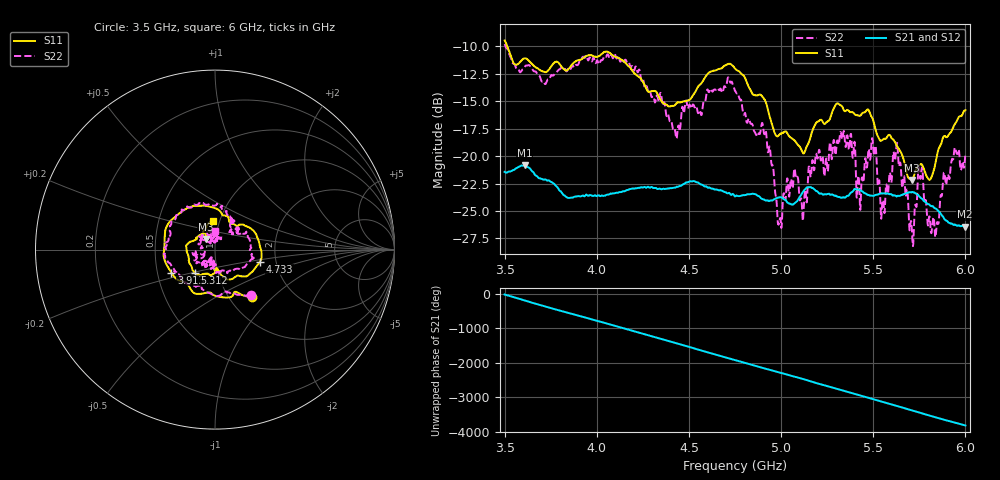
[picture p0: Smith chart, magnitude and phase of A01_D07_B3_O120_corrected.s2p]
! Created with skrf 1.9.0 (http://scikit-rf.org).
# Hz S RI R 50.0
!freq ReS11 ImS11 ReS21 ImS21 ReS12 ImS12 ReS22 ImS22
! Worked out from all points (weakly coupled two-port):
!   1601 points, 3.5 GHz to 6 GHz, reference 50 ohm
!   highest |S21| = -20.84 dB at 3.609 GHz (marker M1); lowest = -26.4 dB at 5.995 GHz (marker M2)
!   lowest |S11| = -22.2 dB at 5.709 GHz (marker M3), VSWR 1.17, Z = 44.8 + j5.27 ohm
!   |S11| at or under -10 dB: 3.514 GHz to end of sweep
!   |S22| runs from -28.2 to -9.8 dB; largest |S21 - S12| = 0.0012
!   S11 on the Smith chart (normalised r, x): 3.5 GHz: 1.27, -0.76; 3.913 GHz: 0.59, -0.16; 4.733 GHz: 1.65, -0.24; 5.312 GHz: 0.77, -0.21; 6 GHz: 0.93, +0.31
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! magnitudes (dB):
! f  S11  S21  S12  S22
! 3.5 GHz  -9.5  -21.4  -21.5  -9.8
! 3.609 GHz  -11.1  -20.8  -20.9  -11.9
! 3.913 GHz  -11.2  -23.7  -23.7  -11.3
! 3.917 GHz  -11.2  -23.6  -23.6  -11.1
! 4.334 GHz  -14.5  -23.0  -23.0  -15.0
! 4.438 GHz  -15.1  -22.8  -22.8  -17.9
! 4.733 GHz  -11.7  -23.5  -23.5  -13.2
! 4.75 GHz  -12.0  -23.7  -23.6  -14.1
! 4.908 GHz  -14.8  -24.0  -23.9  -18.0
! 4.992 GHz  -18.0  -23.8  -23.7  -25.8
! 5.167 GHz  -17.8  -22.9  -22.9  -20.7
! 5.312 GHz  -15.3  -23.7  -23.7  -19.0
! 5.42 GHz  -16.3  -23.0  -23.1  -21.8
! 5.502 GHz  -16.9  -23.6  -23.6  -19.6
! 5.55 GHz  -18.5  -23.4  -23.4  -24.2
! 5.584 GHz  -18.1  -23.4  -23.4  -22.5
! 5.636 GHz  -19.3  -23.6  -23.6  -20.3
! 5.709 GHz  -22.2  -23.3  -23.3  -26.7
! 5.755 GHz  -20.8  -23.8  -23.7  -21.9
! 5.844 GHz  -20.1  -24.8  -24.8  -26.4
! 5.995 GHz  -15.9  -26.4  -26.4  -20.7
! 6 GHz  -15.8  -26.4  -26.4  -19.8
